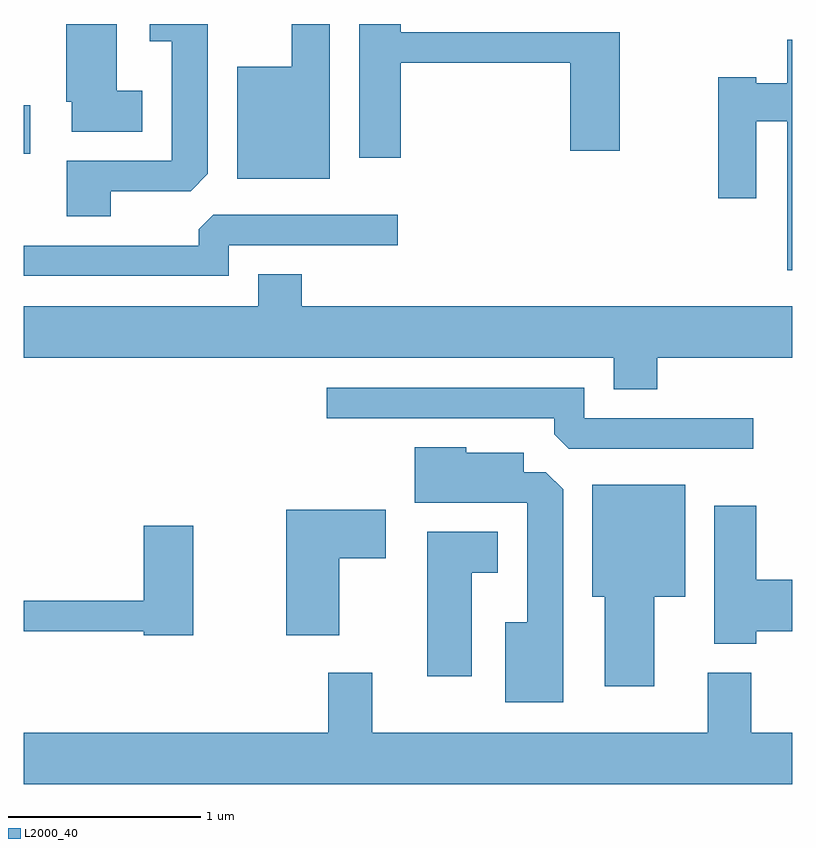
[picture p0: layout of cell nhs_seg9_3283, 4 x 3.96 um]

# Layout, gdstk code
import gdstk
lib = gdstk.Library(unit=1e-6, precision=1e-09)
def R(c, l, rs):  # rectangles x0, y0, x1, y1
    for r in rs: c.add(gdstk.rectangle(r[:2], r[2:], *l))
def P(c, l, *ps):  # polygons
    for p in ps: c.add(gdstk.Polygon(p, *l))
L2000_40 = (2000, 40)

nhs_seg9_3283 = lib.new_cell('nhs_seg9_3283')
R(nhs_seg9_3283, L2000_40, [(281.611,2001.756,281.644,2002.009)])
P(nhs_seg9_3283, L2000_40, [(282.064,2001.561),(282.479,2001.561),(282.569,2001.652),(282.569,2002.432),(282.266,2002.432),(282.266,2002.341),(282.381,2002.341),(282.381,2001.719),(281.836,2001.719),(281.836,2001.431),(282.064,2001.431)],
  [(283.574,2002.231),(284.456,2002.231),(284.456,2001.771),(284.714,2001.771),(284.714,2002.389),(283.574,2002.389),(283.574,2002.432),(283.356,2002.432),(283.356,2001.736),(283.574,2001.736)],
  [(283.204,2002.432),(283.006,2002.432),(283.006,2002.209),(282.721,2002.209),(282.721,2001.626),(283.204,2001.626)],
  [(282.229,2002.084),(282.094,2002.084),(282.094,2002.432),(281.831,2002.432),(281.831,2002.026),(281.861,2002.026),(281.861,2001.871),(282.229,2001.871)],
  [(285.611,2002.349),(285.586,2002.349),(285.586,2002.124),(285.424,2002.124),(285.424,2002.154),(285.226,2002.154),(285.226,2001.526),(285.424,2001.526),(285.424,2001.926),(285.586,2001.926),(285.586,2001.151),(285.611,2001.151)],
  [(282.679,2001.281),(283.558,2001.281),(283.558,2001.439),(282.597,2001.439),(282.521,2001.364),(282.521,2001.279),(281.611,2001.279),(281.611,2001.121),(282.679,2001.121)],
  [(284.909,2000.696),(285.611,2000.696),(285.611,2000.964),(283.059,2000.964),(283.059,2001.129),(282.831,2001.129),(282.831,2000.964),(281.611,2000.964),(281.611,2000.696),(284.681,2000.696),(284.681,2000.531),(284.909,2000.531)],
  [(285.408,2000.379),(284.529,2000.379),(284.529,2000.539),(283.188,2000.539),(283.188,2000.381),(284.371,2000.381),(284.371,2000.297),(284.447,2000.221),(285.408,2000.221)],
  [(284.419,2000.009),(284.329,2000.099),(284.214,2000.099),(284.214,2000.199),(283.914,2000.199),(283.914,2000.229),(283.646,2000.229),(283.646,1999.941),(284.231,1999.941),(284.231,1999.319),(284.116,1999.319),(284.116,1998.901),(284.419,1998.901)],
  [(284.894,1999.451),(285.054,1999.451),(285.054,2000.034),(284.571,2000.034),(284.571,1999.451),(284.636,1999.451),(284.636,1998.986),(284.894,1998.986)],
  [(285.424,1999.271),(285.611,1999.271),(285.611,1999.539),(285.424,1999.539),(285.424,1999.924),(285.206,1999.924),(285.206,1999.206),(285.424,1999.206)],
  [(283.254,1999.651),(283.494,1999.651),(283.494,1999.904),(282.976,1999.904),(282.976,1999.251),(283.254,1999.251)],
  [(282.494,1999.819),(282.236,1999.819),(282.236,1999.429),(281.611,1999.429),(281.611,1999.271),(282.236,1999.271),(282.236,1999.251),(282.494,1999.251)],
  [(283.944,1999.576),(284.079,1999.576),(284.079,1999.789),(283.711,1999.789),(283.711,1999.036),(283.944,1999.036)],
  [(285.611,1998.744),(285.399,1998.744),(285.399,1999.054),(285.171,1999.054),(285.171,1998.744),(283.424,1998.744),(283.424,1999.054),(283.196,1999.054),(283.196,1998.744),(281.611,1998.744),(281.611,1998.476),(285.611,1998.476)])

lib.write_gds('nhs_seg9_3283.gds')
